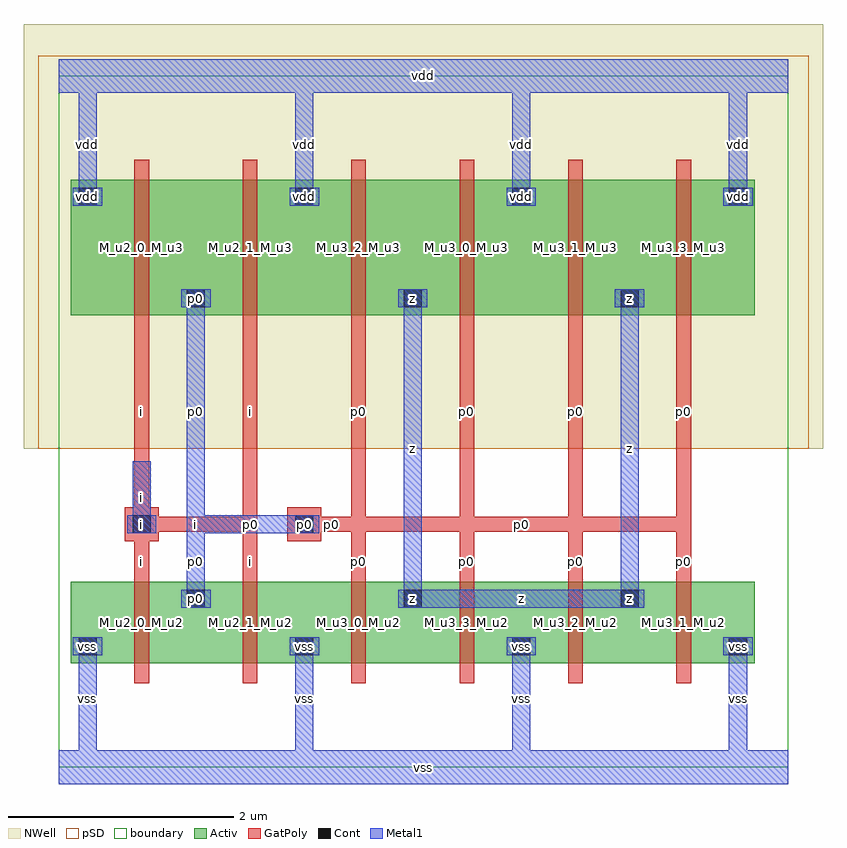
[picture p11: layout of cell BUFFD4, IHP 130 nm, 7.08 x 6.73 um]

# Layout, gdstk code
import gdstk
lib = gdstk.Library(unit=1e-6, precision=1e-09)
def R(c, l, rs):  # rectangles x0, y0, x1, y1
    for r in rs: c.add(gdstk.rectangle(r[:2], r[2:], *l))
def A(c, l, x, y, w, h, nx, ny, dx, dy):  # array of equal rectangles
    R(c, l, [(x+i*dx, y+j*dy, x+i*dx+w, y+j*dy+h) for i in range(nx) for j in range(ny)])
Activ = (1, 0)
GatPoly = (5, 0)
Cont = (6, 0)
Metal1 = (8, 0)
pSD = (14, 0)
NWell = (31, 0)
TEXT = (63, 0)
boundary = (189, 4)

buffd4 = lib.new_cell('BUFFD4')
A(buffd4, Activ, 0.105, 0.92, 1.26, 0.72, 6, 1, 0.96, 0)
A(buffd4, Activ, 0.105, 0.92, 0.3, 0.3, 4, 2, 1.92, 3.98)
A(buffd4, Activ, 1.065, 1.34, 0.3, 0.3, 3, 2, 1.92, 2.66)
A(buffd4, Activ, 0.105, 4, 1.26, 1.2, 6, 1, 0.96, 0)
A(buffd4, GatPoly, 0.67, 0.74, 0.13, 1.08, 6, 1, 0.96, 0)
A(buffd4, GatPoly, 0.67, 1.425, 0.13, 0.79, 6, 1, 0.96, 0)
A(buffd4, GatPoly, 0.67, 2.085, 0.13, 2.13, 6, 1, 0.96, 0)
A(buffd4, GatPoly, 0.67, 3.82, 0.13, 1.56, 6, 1, 0.96, 0)
R(buffd4, GatPoly, [(0.585,2,0.885,2.3), (2.025,2,2.325,2.3), (0.67,2.085,1.76,2.215), (2.11,2.085,2.72,2.215), (2.59,2.085,5.6,2.215)])
A(buffd4, Cont, 0.175, 0.99, 0.16, 0.16, 4, 2, 1.92, 3.98)
A(buffd4, Cont, 1.135, 1.41, 0.16, 0.16, 3, 2, 1.92, 2.66)
R(buffd4, Cont, [(0.655,2.07,0.815,2.23), (2.095,2.07,2.255,2.23)])
A(buffd4, Metal1, 0.175, 0.07, 0.16, 1.08, 4, 2, 1.92, 4.9)
A(buffd4, Metal1, 0.125, 0.99, 0.26, 0.16, 4, 2, 1.92, 3.98)
A(buffd4, Metal1, 1.085, 1.41, 0.26, 0.16, 3, 2, 1.92, 2.66)
R(buffd4, Metal1, [(0,-0.15,6.46,0.15), (1.135,1.41,1.295,2.23), (3.055,1.41,5.135,1.57), (3.055,1.41,3.215,4.23), (4.975,1.41,5.135,4.23), (0.605,2.07,0.865,2.23), (0.655,2.07,0.815,2.71), (1.135,2.07,2.255,2.23), (1.135,2.07,1.295,4.23), (2.045,2.07,2.305,2.23), (0,5.97,6.46,6.27)])
R(buffd4, pSD, [(-0.18,2.82,6.64,5.94), (-0.18,5.94,6.64,6.3)])
R(buffd4, NWell, [(-0.31,2.82,6.77,6.58)])
R(buffd4, boundary, [(0,0,6.46,6.12)])
buffd4.add(gdstk.FlexPath([(0.105,0.41),(6.165,0.41)], 0, ends="flush", simple_path=True, layer=63, datatype=0))  # TEXT
buffd4.add(gdstk.FlexPath([(0.105,1.07),(6.165,1.07)], 0, ends="flush", simple_path=True, layer=63, datatype=0))  # TEXT
buffd4.add(gdstk.FlexPath([(0.105,1.49),(6.165,1.49)], 0, ends="flush", simple_path=True, layer=63, datatype=0))  # TEXT
buffd4.add(gdstk.FlexPath([(0.105,2.15),(6.165,2.15)], 0, ends="flush", simple_path=True, layer=63, datatype=0))  # TEXT
buffd4.add(gdstk.FlexPath([(0.105,2.63),(6.165,2.63)], 0, ends="flush", simple_path=True, layer=63, datatype=0))  # TEXT
buffd4.add(gdstk.FlexPath([(0.105,3.11),(6.165,3.11)], 0, ends="flush", simple_path=True, layer=63, datatype=0))  # TEXT
buffd4.add(gdstk.FlexPath([(0.105,4.15),(6.165,4.15)], 0, ends="flush", simple_path=True, layer=63, datatype=0))  # TEXT
buffd4.add(gdstk.FlexPath([(0.105,4.71),(6.165,4.71)], 0, ends="flush", simple_path=True, layer=63, datatype=0))  # TEXT
buffd4.add(gdstk.FlexPath([(0.105,5.05),(6.165,5.05)], 0, ends="flush", simple_path=True, layer=63, datatype=0))  # TEXT
buffd4.add(gdstk.FlexPath([(0.105,5.71),(6.165,5.71)], 0, ends="flush", simple_path=True, layer=63, datatype=0))  # TEXT
buffd4.add(gdstk.FlexPath([(0.255,0.07),(0.255,6.05)], 0, ends="flush", simple_path=True, layer=63, datatype=0))  # TEXT
buffd4.add(gdstk.FlexPath([(0.735,0.07),(0.735,6.05)], 0, ends="flush", simple_path=True, layer=63, datatype=0))  # TEXT
buffd4.add(gdstk.FlexPath([(1.215,0.07),(1.215,6.05)], 0, ends="flush", simple_path=True, layer=63, datatype=0))  # TEXT
buffd4.add(gdstk.FlexPath([(1.695,0.07),(1.695,6.05)], 0, ends="flush", simple_path=True, layer=63, datatype=0))  # TEXT
buffd4.add(gdstk.FlexPath([(2.175,0.07),(2.175,6.05)], 0, ends="flush", simple_path=True, layer=63, datatype=0))  # TEXT
buffd4.add(gdstk.FlexPath([(2.655,0.07),(2.655,6.05)], 0, ends="flush", simple_path=True, layer=63, datatype=0))  # TEXT
buffd4.add(gdstk.FlexPath([(3.135,0.07),(3.135,6.05)], 0, ends="flush", simple_path=True, layer=63, datatype=0))  # TEXT
buffd4.add(gdstk.FlexPath([(3.615,0.07),(3.615,6.05)], 0, ends="flush", simple_path=True, layer=63, datatype=0))  # TEXT
buffd4.add(gdstk.FlexPath([(4.095,0.07),(4.095,6.05)], 0, ends="flush", simple_path=True, layer=63, datatype=0))  # TEXT
buffd4.add(gdstk.FlexPath([(4.575,0.07),(4.575,6.05)], 0, ends="flush", simple_path=True, layer=63, datatype=0))  # TEXT
buffd4.add(gdstk.FlexPath([(5.055,0.07),(5.055,6.05)], 0, ends="flush", simple_path=True, layer=63, datatype=0))  # TEXT
buffd4.add(gdstk.FlexPath([(5.535,0.07),(5.535,6.05)], 0, ends="flush", simple_path=True, layer=63, datatype=0))  # TEXT
buffd4.add(gdstk.FlexPath([(6.015,0.07),(6.015,6.05)], 0, ends="flush", simple_path=True, layer=63, datatype=0))  # TEXT
buffd4.add(gdstk.Label('z', (3.135,1.49), layer=6, texttype=0))
buffd4.add(gdstk.Label('z', (5.055,1.49), layer=6, texttype=0))
buffd4.add(gdstk.Label('z', (3.135,4.15), layer=6, texttype=0))
buffd4.add(gdstk.Label('z', (5.055,4.15), layer=6, texttype=0))
buffd4.add(gdstk.Label('p0', (1.215,1.49), layer=6, texttype=0))
buffd4.add(gdstk.Label('p0', (1.215,4.15), layer=6, texttype=0))
buffd4.add(gdstk.Label('p0', (2.175,2.15), layer=6, texttype=0))
buffd4.add(gdstk.Label('i', (0.735,2.15), layer=6, texttype=0))
buffd4.add(gdstk.Label('vss', (2.175,1.07), layer=6, texttype=0))
buffd4.add(gdstk.Label('vss', (6.015,1.07), layer=6, texttype=0))
buffd4.add(gdstk.Label('vss', (4.095,1.07), layer=6, texttype=0))
buffd4.add(gdstk.Label('vss', (0.255,1.07), layer=6, texttype=0))
buffd4.add(gdstk.Label('vdd', (4.095,5.05), layer=6, texttype=0))
buffd4.add(gdstk.Label('vdd', (2.175,5.05), layer=6, texttype=0))
buffd4.add(gdstk.Label('vdd', (6.015,5.05), layer=6, texttype=0))
buffd4.add(gdstk.Label('vdd', (0.255,5.05), layer=6, texttype=0))
buffd4.add(gdstk.Label('p0', (1.215,1.49), layer=8, texttype=0))
buffd4.add(gdstk.Label('p0', (1.215,4.15), layer=8, texttype=0))
buffd4.add(gdstk.Label('p0', (2.175,2.15), layer=8, texttype=0))
buffd4.add(gdstk.Label('p0', (1.695,2.15), layer=8, texttype=0))
buffd4.add(gdstk.Label('p0', (1.215,1.82), layer=8, texttype=0))
buffd4.add(gdstk.Label('p0', (1.215,3.15), layer=8, texttype=0))
buffd4.add(gdstk.Label('vss', (2.175,1.07), layer=8, texttype=0))
buffd4.add(gdstk.Label('vss', (2.175,0.61), layer=8, texttype=0))
buffd4.add(gdstk.Label('vss', (6.015,1.07), layer=8, texttype=0))
buffd4.add(gdstk.Label('vss', (6.015,0.61), layer=8, texttype=0))
buffd4.add(gdstk.Label('vss', (4.095,1.07), layer=8, texttype=0))
buffd4.add(gdstk.Label('vss', (4.095,0.61), layer=8, texttype=0))
buffd4.add(gdstk.Label('vss', (0.255,1.07), layer=8, texttype=0))
buffd4.add(gdstk.Label('vss', (0.255,0.61), layer=8, texttype=0))
buffd4.add(gdstk.Label('vdd', (4.095,5.05), layer=8, texttype=0))
buffd4.add(gdstk.Label('vdd', (4.095,5.51), layer=8, texttype=0))
buffd4.add(gdstk.Label('vdd', (2.175,5.05), layer=8, texttype=0))
buffd4.add(gdstk.Label('vdd', (2.175,5.51), layer=8, texttype=0))
buffd4.add(gdstk.Label('vdd', (6.015,5.05), layer=8, texttype=0))
buffd4.add(gdstk.Label('vdd', (6.015,5.51), layer=8, texttype=0))
buffd4.add(gdstk.Label('vdd', (0.255,5.05), layer=8, texttype=0))
buffd4.add(gdstk.Label('vdd', (0.255,5.51), layer=8, texttype=0))
buffd4.add(gdstk.Label('z', (3.135,1.49), layer=8, texttype=2))
buffd4.add(gdstk.Label('z', (5.055,1.49), layer=8, texttype=2))
buffd4.add(gdstk.Label('z', (3.135,4.15), layer=8, texttype=2))
buffd4.add(gdstk.Label('z', (5.055,4.15), layer=8, texttype=2))
buffd4.add(gdstk.Label('z', (4.095,1.49), layer=8, texttype=2))
buffd4.add(gdstk.Label('z', (3.135,2.82), layer=8, texttype=2))
buffd4.add(gdstk.Label('z', (5.055,2.82), layer=8, texttype=2))
buffd4.add(gdstk.Label('i', (0.735,2.15), layer=8, texttype=2))
buffd4.add(gdstk.Label('i', (0.735,2.39), layer=8, texttype=2))
buffd4.add(gdstk.Label('vss', (3.23,0), layer=8, texttype=2))
buffd4.add(gdstk.Label('vdd', (3.23,6.12), layer=8, texttype=2))
buffd4.add(gdstk.Label('z', (3.135,1.49), layer=8, texttype=2))
buffd4.add(gdstk.Label('z', (5.055,1.49), layer=8, texttype=2))
buffd4.add(gdstk.Label('z', (3.135,4.15), layer=8, texttype=2))
buffd4.add(gdstk.Label('z', (5.055,4.15), layer=8, texttype=2))
buffd4.add(gdstk.Label('z', (4.095,1.49), layer=8, texttype=2))
buffd4.add(gdstk.Label('z', (3.135,2.82), layer=8, texttype=2))
buffd4.add(gdstk.Label('z', (5.055,2.82), layer=8, texttype=2))
buffd4.add(gdstk.Label('i', (0.735,2.15), layer=8, texttype=2))
buffd4.add(gdstk.Label('i', (0.735,2.39), layer=8, texttype=2))
buffd4.add(gdstk.Label('vss', (3.23,0), layer=8, texttype=2))
buffd4.add(gdstk.Label('vdd', (3.23,6.12), layer=8, texttype=2))
buffd4.add(gdstk.Label('M_u3_0_M_u2', (2.655,1.28), layer=1, texttype=0))
buffd4.add(gdstk.Label('M_u3_1_M_u2', (5.535,1.28), layer=1, texttype=0))
buffd4.add(gdstk.Label('M_u3_2_M_u2', (4.575,1.28), layer=1, texttype=0))
buffd4.add(gdstk.Label('M_u3_3_M_u2', (3.615,1.28), layer=1, texttype=0))
buffd4.add(gdstk.Label('M_u2_0_M_u2', (0.735,1.28), layer=1, texttype=0))
buffd4.add(gdstk.Label('M_u2_1_M_u2', (1.695,1.28), layer=1, texttype=0))
buffd4.add(gdstk.Label('M_u3_0_M_u3', (3.615,4.6), layer=1, texttype=0))
buffd4.add(gdstk.Label('M_u3_1_M_u3', (4.575,4.6), layer=1, texttype=0))
buffd4.add(gdstk.Label('M_u3_2_M_u3', (2.655,4.6), layer=1, texttype=0))
buffd4.add(gdstk.Label('M_u3_3_M_u3', (5.535,4.6), layer=1, texttype=0))
buffd4.add(gdstk.Label('M_u2_0_M_u3', (0.735,4.6), layer=1, texttype=0))
buffd4.add(gdstk.Label('M_u2_1_M_u3', (1.695,4.6), layer=1, texttype=0))
buffd4.add(gdstk.Label('z', (3.135,1.49), layer=1, texttype=0))
buffd4.add(gdstk.Label('z', (5.055,1.49), layer=1, texttype=0))
buffd4.add(gdstk.Label('z', (3.135,4.15), layer=1, texttype=0))
buffd4.add(gdstk.Label('z', (5.055,4.15), layer=1, texttype=0))
buffd4.add(gdstk.Label('p0', (1.215,1.49), layer=1, texttype=0))
buffd4.add(gdstk.Label('p0', (1.215,4.15), layer=1, texttype=0))
buffd4.add(gdstk.Label('vss', (2.175,1.07), layer=1, texttype=0))
buffd4.add(gdstk.Label('vss', (6.015,1.07), layer=1, texttype=0))
buffd4.add(gdstk.Label('vss', (4.095,1.07), layer=1, texttype=0))
buffd4.add(gdstk.Label('vss', (0.255,1.07), layer=1, texttype=0))
buffd4.add(gdstk.Label('vdd', (4.095,5.05), layer=1, texttype=0))
buffd4.add(gdstk.Label('vdd', (2.175,5.05), layer=1, texttype=0))
buffd4.add(gdstk.Label('vdd', (6.015,5.05), layer=1, texttype=0))
buffd4.add(gdstk.Label('vdd', (0.255,5.05), layer=1, texttype=0))
buffd4.add(gdstk.Label('z', (3.135,1.49), layer=8, texttype=25))
buffd4.add(gdstk.Label('z', (5.055,1.49), layer=8, texttype=25))
buffd4.add(gdstk.Label('z', (3.135,4.15), layer=8, texttype=25))
buffd4.add(gdstk.Label('z', (5.055,4.15), layer=8, texttype=25))
buffd4.add(gdstk.Label('z', (4.095,1.49), layer=8, texttype=25))
buffd4.add(gdstk.Label('z', (3.135,2.82), layer=8, texttype=25))
buffd4.add(gdstk.Label('z', (5.055,2.82), layer=8, texttype=25))
buffd4.add(gdstk.Label('i', (0.735,2.15), layer=8, texttype=25))
buffd4.add(gdstk.Label('i', (0.735,2.39), layer=8, texttype=25))
buffd4.add(gdstk.Label('vss', (3.23,0), layer=8, texttype=25))
buffd4.add(gdstk.Label('vdd', (3.23,6.12), layer=8, texttype=25))
buffd4.add(gdstk.Label('p0', (2.655,1.82), layer=5, texttype=0))
buffd4.add(gdstk.Label('p0', (4.095,2.15), layer=5, texttype=0))
buffd4.add(gdstk.Label('p0', (5.535,1.82), layer=5, texttype=0))
buffd4.add(gdstk.Label('p0', (4.575,1.82), layer=5, texttype=0))
buffd4.add(gdstk.Label('p0', (3.615,1.82), layer=5, texttype=0))
buffd4.add(gdstk.Label('p0', (2.415,2.15), layer=5, texttype=0))
buffd4.add(gdstk.Label('p0', (2.175,2.15), layer=5, texttype=0))
buffd4.add(gdstk.Label('p0', (3.615,3.15), layer=5, texttype=0))
buffd4.add(gdstk.Label('p0', (4.575,3.15), layer=5, texttype=0))
buffd4.add(gdstk.Label('p0', (2.655,3.15), layer=5, texttype=0))
buffd4.add(gdstk.Label('p0', (5.535,3.15), layer=5, texttype=0))
buffd4.add(gdstk.Label('i', (0.735,1.82), layer=5, texttype=0))
buffd4.add(gdstk.Label('i', (1.215,2.15), layer=5, texttype=0))
buffd4.add(gdstk.Label('i', (1.695,1.82), layer=5, texttype=0))
buffd4.add(gdstk.Label('i', (0.735,3.15), layer=5, texttype=0))
buffd4.add(gdstk.Label('i', (1.695,3.15), layer=5, texttype=0))
buffd4.add(gdstk.Label('i', (0.735,2.15), layer=5, texttype=0))

lib.write_gds('BUFFD4.gds')
